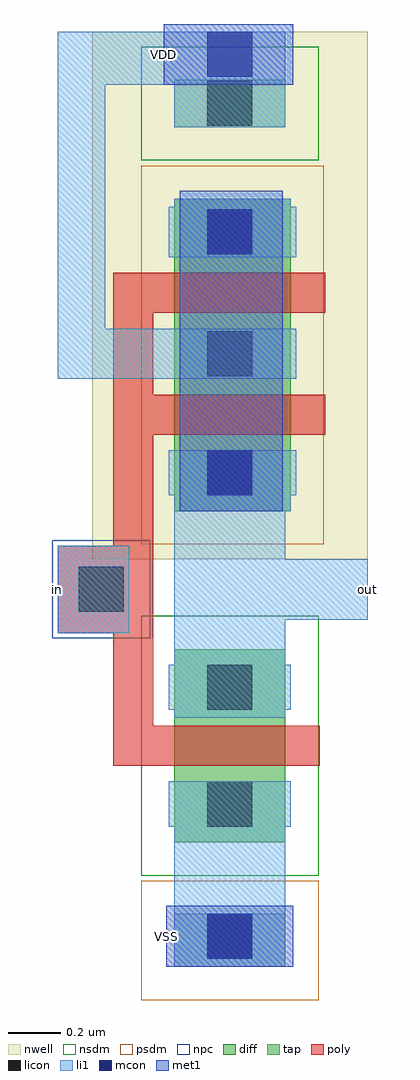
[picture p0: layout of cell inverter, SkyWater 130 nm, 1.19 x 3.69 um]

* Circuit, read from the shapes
.subckt inverter VDD VSS in out
XM1 out in VSS VSS sky130_fd_pr__nfet_01v8 w=0.42 l=0.15
XM2 VDD in out VDD sky130_fd_pr__pfet_01v8 w=0.44 l=0.15 m=2
.ends

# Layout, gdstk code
import gdstk
lib = gdstk.Library(unit=1e-6, precision=1e-09)
def R(c, l, rs):  # rectangles x0, y0, x1, y1
    for r in rs: c.add(gdstk.rectangle(r[:2], r[2:], *l))
nwell = (64, 20)
diff = (65, 20)
tap = (65, 44)
poly = (66, 20)
licon = (66, 44)
li1 = (67, 20)
mcon = (67, 44)
met1 = (68, 20)
nsdm = (93, 44)
psdm = (94, 20)
npc = (95, 20)

inverter = lib.new_cell('inverter')
R(inverter, nwell, [(0,0.89,1.04,2.88)])
R(inverter, diff, [(0.31,-0.18,0.73,0.55), (0.31,1.07,0.75,2.25)])
R(inverter, tap, [(0.31,-0.65,0.73,-0.45), (0.31,2.52,0.73,2.7)])
R(inverter, poly, [(0.08,0.11,0.86,0.26), (0.08,0.26,0.23,0.61), (-0.13,0.61,0.23,0.94), (0.08,0.94,0.23,1.36), (0.08,1.36,0.88,1.51), (0.08,1.51,0.23,1.82), (0.08,1.82,0.88,1.97)])
R(inverter, licon, [(0.435,-0.62,0.605,-0.45), (0.435,-0.12,0.605,0.05), (0.435,0.32,0.605,0.49), (-0.05,0.69,0.12,0.86), (0.435,1.13,0.605,1.3), (0.435,1.58,0.605,1.75), (0.435,2.04,0.605,2.21), (0.435,2.525,0.605,2.695)])
R(inverter, li1, [(0.31,-0.65,0.73,-0.12), (0.29,-0.12,0.75,0.05), (0.31,0.29,0.73,0.32), (0.29,0.32,0.75,0.49), (0.31,0.49,0.73,0.66), (-0.13,0.61,0.14,0.94), (0.31,0.66,1.04,0.89), (0.31,0.89,0.73,1.07), (0.31,1.07,0.75,1.13), (0.29,1.13,0.77,1.3), (-0.13,1.57,0.77,1.76), (-0.13,1.76,0.05,2.68), (0.29,2.03,0.77,2.22), (0.31,2.22,0.75,2.25), (0.31,2.52,0.73,2.68), (-0.13,2.68,0.73,2.88)])
R(inverter, mcon, [(0.435,-0.62,0.605,-0.45), (0.435,1.13,0.605,1.3), (0.435,2.04,0.605,2.21), (0.435,2.71,0.605,2.88)])
R(inverter, met1, [(0.28,-0.65,0.76,-0.42), (0.33,1.07,0.72,2.28), (0.27,2.68,0.76,2.91)])
R(inverter, nsdm, [(0.185,-0.305,0.855,0.675), (0.185,2.395,0.855,2.825)])
R(inverter, psdm, [(0.185,-0.775,0.855,-0.325), (0.185,0.945,0.875,2.375)])
R(inverter, npc, [(-0.15,0.59,0.22,0.96)])
inverter.add(gdstk.Label('in', (-0.13,0.775), layer=67, texttype=5))
inverter.add(gdstk.Label('out', (1.04,0.775), layer=67, texttype=5))
inverter.add(gdstk.Label('VDD', (0.27,2.795), layer=68, texttype=16))
inverter.add(gdstk.Label('VSS', (0.28,-0.535), layer=68, texttype=16))

lib.write_gds('inverter.gds')
